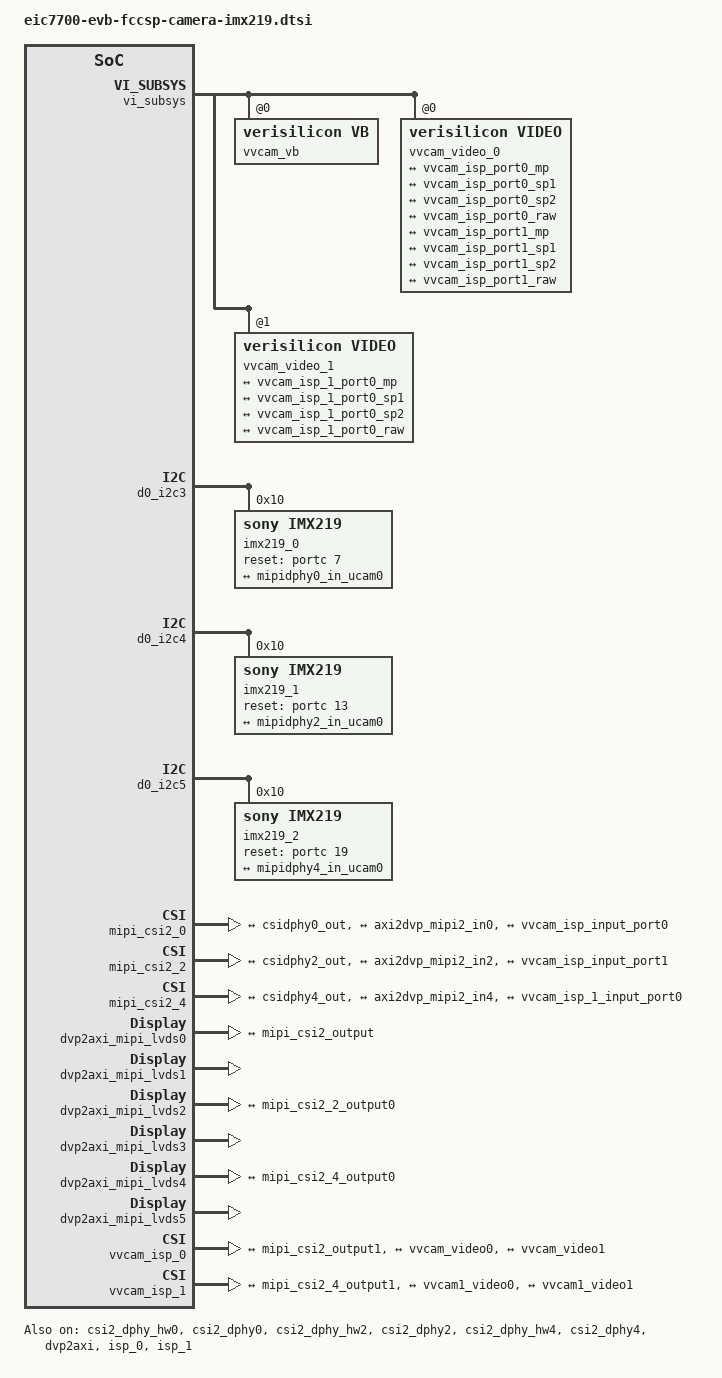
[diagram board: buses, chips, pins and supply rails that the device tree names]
// #include "eswin-win2030-die0-soc.dtsi"
#include <dt-bindings/gpio/gpio.h>
#include <dt-bindings/input/input.h>
&vi_subsys {
	eswin,isp_dvp0_hor = <3280>;
	eswin,isp_dvp0_ver = <2464>;
	phy_mode = <2>; //5: 6x2lanes, 2: 3x4lanes
	isp_connect_mode = <0>;

	vvcam_vb: vvcam-vb@0 {
		compatible = "verisilicon,vb";
		status = "okay";
		#size-cells = <2>;
		dma-noncoherent;
		dma-ranges = <0x0 0x20000000 0x0 0x80000000 0x0 0x40000000>;
		iommus = <&smmu0 WIN2030_SID_ISP0>;
	};

	vvcam_video_0: vvcam_video@0 {
		compatible = "verisilicon,video";
		id = <0>;
		status = "okay";
		#size-cells = <2>;
		dma-noncoherent;
		dma-ranges = <0x0 0x20000000 0x0 0x80000000 0x0 0x40000000>;
		iommus = <&smmu0 WIN2030_SID_ISP0>;
		ports {
			#address-cells = <1>;
			#size-cells = <0>;

			port@0 {
				#address-cells = <1>;
				#size-cells = <0>;
				reg = <0>;
				vvcam_video0: endpoint {
					remote-endpoint = <&vvcam_isp_port0_mp>;
				};
			};

			port@1 {
				#address-cells = <1>;
				#size-cells = <0>;
				reg = <1>;
				vvcam_video1: endpoint {
					remote-endpoint = <&vvcam_isp_port0_sp1>;
				};
			};

			port@2 {
				#address-cells = <1>;
				#size-cells = <0>;
				reg = <2>;
				vvcam_video2: endpoint {
					remote-endpoint = <&vvcam_isp_port0_sp2>;
				};
			};

			port@3 {
				#address-cells = <1>;
				#size-cells = <0>;
				reg = <3>;
				vvcam_video3: endpoint {
					remote-endpoint = <&vvcam_isp_port0_raw>;
				};
			};

			port@4 {
				#address-cells = <1>;
				#size-cells = <0>;
				reg = <4>;
				vvcam_video4: endpoint@0 {
					reg = <0>;
					remote-endpoint = <&vvcam_isp_port1_mp>;
				};
			};

			port@5 {
				#address-cells = <1>;
				#size-cells = <0>;
				reg = <5>;
				vvcam_video5: endpoint@0 {
					reg = <0>;
					remote-endpoint = <&vvcam_isp_port1_sp1>;
				};
			};

			port@6 {
				#address-cells = <1>;
				#size-cells = <0>;
				reg = <6>;
				vvcam_video6: endpoint@0 {
					reg = <0>;
					remote-endpoint = <&vvcam_isp_port1_sp2>;
				};
			};

			port@7 {
				#address-cells = <1>;
				#size-cells = <0>;
				reg = <7>;
				vvcam_video7: endpoint@0 {
					reg = <0>;
					remote-endpoint = <&vvcam_isp_port1_raw>;
				};
			};
		};
	};

	vvcam_video_1: vvcam_video@1 {
		compatible = "verisilicon,video";
		id = <1>;
		status = "okay";
		#size-cells = <2>;
		dma-noncoherent;
		dma-ranges = <0x0 0x20000000 0x0 0x80000000 0x0 0x40000000>;
		iommus = <&smmu0 WIN2030_SID_ISP1>;
		ports {
			#address-cells = <1>;
			#size-cells = <0>;

			port@0 {
				#address-cells = <1>;
				#size-cells = <0>;
				reg = <0>;
				vvcam1_video0: endpoint@0 {
					reg = <0>;
					remote-endpoint = <&vvcam_isp_1_port0_mp>;
				};
			};

			port@1 {
				#address-cells = <1>;
				#size-cells = <0>;
				reg = <1>;
				vvcam1_video1: endpoint@0 {
					reg = <0>;
					remote-endpoint = <&vvcam_isp_1_port0_sp1>;
				};
			};

			port@2 {
				#address-cells = <1>;
				#size-cells = <0>;
				reg = <2>;
				vvcam1_video2: endpoint@0 {
					reg = <0>;
					remote-endpoint = <&vvcam_isp_1_port0_sp2>;
				};
			};

			port@3 {
				#address-cells = <1>;
				#size-cells = <0>;
				reg = <3>;
				vvcam1_video3: endpoint@0 {
					reg = <0>;
					remote-endpoint = <&vvcam_isp_1_port0_raw>;
				};
			};
		};
	};
};

&d0_i2c3 {
	/* mipi csi0/csi1 */
	status = "okay";
	imx219_0: imx219@10 {
			compatible = "sony,imx219";
			status = "okay";
			address-cells = <1>;
			size-cells = <0>;
			reg = <0x10>;
			clocks = <&d0_clock EIC7700_CLK_VI_SHUTTER_0>;
			assigned-clocks = <&d0_clock EIC7700_CLK_VI_SHUTTER_0>;
			assigned-clock-rates = <24000000>;
			clock-names = "xvclk";
			pinctrl-names = "default";
			pinctrl-0 = <&pinctrl_gpio71_default>;
			reset-gpio = <&portc 7 GPIO_ACTIVE_HIGH>;
			power-domains = <&d0_pmu EIC770X_PD_VI>;

			port {
				imx219_out0: endpoint {
					remote-endpoint = <&mipidphy0_in_ucam0>;
					data-lanes = <1 2 3 4>;
					link-frequencies = /bits/ 64 <364000000>;
				};
			};
		};
};

&d0_i2c4 {
	/* mipi csi2/csi3 */
	status = "okay";
	imx219_1: imx219@10 {
			compatible = "sony,imx219";
			status = "okay";
			address-cells = <1>;
			size-cells = <0>;
			reg = <0x10>;
			clocks = <&d0_clock EIC7700_CLK_VI_SHUTTER_0>;
			assigned-clocks = <&d0_clock EIC7700_CLK_VI_SHUTTER_0>;
			assigned-clock-rates = <24000000>;
			clock-names = "xvclk";
			pinctrl-names = "default";
			pinctrl-0 = <&pinctrl_gpio77_default>;
			reset-gpio = <&portc 13 GPIO_ACTIVE_HIGH>;
			power-domains = <&d0_pmu EIC770X_PD_VI>;

			port {
				imx219_out1: endpoint {
					remote-endpoint = <&mipidphy2_in_ucam0>;
					data-lanes = <1 2 3 4>;
					link-frequencies = /bits/ 64 <364000000>;
				};
			};
		};
};

&d0_i2c5 {
	/* mipi csi4/csi5 */
	status = "okay";
	imx219_2: imx219@10 {
			compatible = "sony,imx219";
			status = "okay";
			address-cells = <1>;
			size-cells = <0>;
			reg = <0x10>;
			clocks = <&d0_clock EIC7700_CLK_VI_SHUTTER_0>;
			assigned-clocks = <&d0_clock EIC7700_CLK_VI_SHUTTER_0>;
			assigned-clock-rates = <24000000>;
			clock-names = "xvclk";
			pinctrl-names = "default";
			pinctrl-0 = <&pinctrl_gpio83_default>;
			reset-gpio = <&portc 19 GPIO_ACTIVE_HIGH>;
			power-domains = <&d0_pmu EIC770X_PD_VI>;

			port {
				imx219_out2: endpoint {
					remote-endpoint = <&mipidphy4_in_ucam0>;
					data-lanes = <1 2 3 4>;
					link-frequencies = /bits/ 64 <364000000>;
				};
			};
		};
};

&csi2_dphy_hw0 {
	lanes = <1 2 3 4>;
	lanes-dp-dn = <0 0 0 0>;	// 4lanes: positive on dn/ negative on dp to hs and lp mode
	status = "okay";
};

&csi2_dphy0 {
	status = "okay";
	ports {
		#address-cells = <1>;
		#size-cells = <0>;

		port@0 {
			reg = <0>;
			#address-cells = <1>;
			#size-cells = <0>;

			mipidphy0_in_ucam0: endpoint {
				remote-endpoint = <&imx219_out0>;
				data-lanes = <1 2 3 4>;
			};
		};
		port@1 {
			reg = <1>;
			#address-cells = <1>;
			#size-cells = <0>;

			csidphy0_out: endpoint {
				remote-endpoint = <&mipi_csi2_input>;
			};
		};
	};
};

&csi2_dphy_hw2 {
	lanes = <1 2 3 4>;
	lanes-dp-dn = <0 0 0 0>;	// 4lanes: positive on dn/ negative on dp to hs and lp mode
	status = "okay";
};
&csi2_dphy2 {
	status = "okay";
	ports {
		#address-cells = <1>;
		#size-cells = <0>;

		port@0 {
			reg = <0>;
			#address-cells = <1>;
			#size-cells = <0>;

			mipidphy2_in_ucam0: endpoint@0 {
				reg = <0>;
				remote-endpoint = <&imx219_out1>;
				data-lanes = <1 2 3 4>;
			};
		};

		port@1 {
			reg = <1>;
			#address-cells = <1>;
			#size-cells = <0>;

			csidphy2_out: endpoint@1 {
				reg = <1>;
				remote-endpoint = <&mipi_csi2_2_input>;
			};
		};
	};
};

&csi2_dphy_hw4 {
	lanes = <1 2 3 4>;
	lanes-dp-dn = <0 0 0 0>;	// 4lanes: positive on dn/ negative on dp to hs and lp mode
	status = "okay";
};
&csi2_dphy4 {
	status = "okay";
	ports {
		#address-cells = <1>;
		#size-cells = <0>;

		port@0 {
			reg = <0>;
			#address-cells = <1>;
			#size-cells = <0>;

			mipidphy4_in_ucam0: endpoint@0 {
				reg = <0>;
				remote-endpoint = <&imx219_out2>;
				data-lanes = <1 2 3 4>;
			};
		};

		port@1 {
			reg = <1>;
			#address-cells = <1>;
			#size-cells = <0>;

			csidphy4_out: endpoint@1 {
				reg = <1>;
				remote-endpoint = <&mipi_csi2_4_input>;
			};
		};
	};
};

&mipi_csi2_0 {
	status = "okay";
	num_lanes = <4>;
	snps,en-ppi-width = <1>; // 1: 16-bit, 0: 8-bit
	ports {
		#address-cells = <1>;
		#size-cells = <0>;

		port@0 {
			#address-cells = <1>;
			#size-cells = <0>;
			reg = <0>;
			mipi_csi2_input: endpoint {
				remote-endpoint = <&csidphy0_out>;
			};
		};

		port@1 {
			#address-cells = <1>;
			#size-cells = <0>;
			reg = <1>;
			mipi_csi2_output: endpoint {
				remote-endpoint = <&axi2dvp_mipi2_in0>;
			};
		};

		port@2 {
			#address-cells = <1>;
			#size-cells = <0>;
			reg = <2>;
			mipi_csi2_output1: endpoint {
				remote-endpoint = <&vvcam_isp_input_port0>;
			};
		};
	};
};

&mipi_csi2_2 {
	num_lanes = <4>;
	snps,en-ppi-width = <1>; // 1: 16-bit, 0: 8-bit
	status = "okay";
	ports {
		#address-cells = <1>;
		#size-cells = <0>;

		port@0 {
			reg = <0>;
			#address-cells = <1>;
			#size-cells = <0>;

			mipi_csi2_2_input: endpoint@0 {
				remote-endpoint = <&csidphy2_out>;
			};
		};

		port@1 {
			reg = <1>;
			#address-cells = <1>;
			#size-cells = <0>;

			mipi_csi2_2_output0: endpoint@1 {
				remote-endpoint = <&axi2dvp_mipi2_in2>;
			};
		};

		port@2 {
			#address-cells = <1>;
			#size-cells = <0>;
			reg = <2>;
			mipi_csi2_2_output1: endpoint {
				remote-endpoint = <&vvcam_isp_input_port1>;
			};
		};
	};
};

&mipi_csi2_4 {
	num_lanes = <4>;
	snps,en-ppi-width = <1>; // 1: 16-bit, 0: 8-bit
	status = "okay";
	ports {
		#address-cells = <1>;
		#size-cells = <0>;

		port@0 {
			reg = <0>;
			#address-cells = <1>;
			#size-cells = <0>;

			mipi_csi2_4_input: endpoint@0 {
				remote-endpoint = <&csidphy4_out>;
			};
		};

		port@1 {
			reg = <1>;
			#address-cells = <1>;
			#size-cells = <0>;

			mipi_csi2_4_output0: endpoint@1 {
				remote-endpoint = <&axi2dvp_mipi2_in4>;
			};
		};

		port@2 {
			#address-cells = <1>;
			#size-cells = <0>;
			reg = <2>;
			mipi_csi2_4_output1: endpoint {
				remote-endpoint = <&vvcam_isp_1_input_port0>;
			};
		};
	};
};



&dvp2axi {
	status = "okay";
};

&dvp2axi_mipi_lvds0 {
	status = "okay";
	dvp2axi_id = <0>;
	ports{
		#address-cells = <1>;
        #size-cells = <0>;
		port@0 {
			#address-cells = <1>;
        	#size-cells = <0>;
			reg = <0>;
			axi2dvp_mipi2_in0: endpoint {
				remote-endpoint = <&mipi_csi2_output>;
			};
		};
	};
};

&dvp2axi_mipi_lvds1 {
	dvp2axi_id = <1>;
	status = "okay";
};

&dvp2axi_mipi_lvds2 {
	status = "okay";
	dvp2axi_id = <2>;
	port@0 {
		axi2dvp_mipi2_in2: endpoint@0 {
			remote-endpoint = <&mipi_csi2_2_output0>;
		};
	};
};

&dvp2axi_mipi_lvds3 {
	dvp2axi_id = <3>;
	status = "okay";
};

&dvp2axi_mipi_lvds4 {
	dvp2axi_id = <4>;
	status = "okay";
	port@0 {
		axi2dvp_mipi2_in4: endpoint@0 {
			remote-endpoint = <&mipi_csi2_4_output0>;
		};
	};
};

&dvp2axi_mipi_lvds5 {
	dvp2axi_id = <5>;
	status = "okay";
};

&vvcam_isp_0 {
	ports {
		#address-cells = <1>;
		#size-cells = <0>;

		port@0 {
			#address-cells = <1>;
			#size-cells = <0>;
			reg = <0>;
			vvcam_isp_input_port0: endpoint@0 {
				reg = <0>;
				remote-endpoint = <&mipi_csi2_output1>;
			};
		};

		port@1 {
			#address-cells = <1>;
			#size-cells = <0>;
			reg = <1>;
			vvcam_isp_port0_mp: endpoint {
				remote-endpoint = <&vvcam_video0>;
			};
		};

		port@2 {
			#address-cells = <1>;
			#size-cells = <0>;
			reg = <2>;
			vvcam_isp_port0_sp1: endpoint {
				remote-endpoint = <&vvcam_video1>;
			};
		};

		port@3 {
			#address-cells = <1>;
			#size-cells = <0>;
			reg = <3>;
			vvcam_isp_port0_sp2: endpoint {
				remote-endpoint = <&vvcam_video2>;
			};
		};

		port@4 {
			#address-cells = <1>;
			#size-cells = <0>;
			reg = <4>;
			vvcam_isp_port0_raw: endpoint {
				remote-endpoint = <&vvcam_video3>;
			};
		};

		port@5 {
			#address-cells = <1>;
			#size-cells = <0>;
			reg = <5>;
			vvcam_isp_input_port1: endpoint@0 {
				reg = <0>;
				remote-endpoint = <&mipi_csi2_2_output1>;
			};
		};

		port@6 {
			#address-cells = <1>;
			#size-cells = <0>;
			reg = <6>;
			vvcam_isp_port1_mp: endpoint {
				remote-endpoint = <&vvcam_video4>;
			};
		};

		port@7 {
			#address-cells = <1>;
			#size-cells = <0>;
			reg = <7>;
			vvcam_isp_port1_sp1: endpoint {
				remote-endpoint = <&vvcam_video5>;
			};
		};

		port@8 {
			#address-cells = <1>;
			#size-cells = <0>;
			reg = <8>;
			vvcam_isp_port1_sp2: endpoint {
				remote-endpoint = <&vvcam_video6>;
			};
		};

		port@9 {
			#address-cells = <1>;
			#size-cells = <0>;
			reg = <9>;
			vvcam_isp_port1_raw: endpoint {
				remote-endpoint = <&vvcam_video7>;
			};
		};
	};
};

&vvcam_isp_1 {
	ports {
		#address-cells = <1>;
		#size-cells = <0>;

		port@0 {
			#address-cells = <1>;
			#size-cells = <0>;
			reg = <0>;
			vvcam_isp_1_input_port0: endpoint@0 {
				reg = <0>;
				remote-endpoint = <&mipi_csi2_4_output1>;
			};
		};

		port@1 {
			#address-cells = <1>;
			#size-cells = <0>;
			reg = <1>;
			vvcam_isp_1_port0_mp: endpoint {
				remote-endpoint = <&vvcam1_video0>;
			};
		};

		port@2 {
			#address-cells = <1>;
			#size-cells = <0>;
			reg = <2>;
			vvcam_isp_1_port0_sp1: endpoint {
				remote-endpoint = <&vvcam1_video1>;
			};
		};

		port@3 {
			#address-cells = <1>;
			#size-cells = <0>;
			reg = <3>;
			vvcam_isp_1_port0_sp2: endpoint {
				remote-endpoint = <&vvcam1_video2>;
			};
		};

		port@4 {
			#address-cells = <1>;
			#size-cells = <0>;
			reg = <4>;
			vvcam_isp_1_port0_raw: endpoint {
				remote-endpoint = <&vvcam1_video3>;
			};
		};
	};
};

&isp_0 {
	status = "okay";
};

&isp_1 {
	status = "okay";
};


